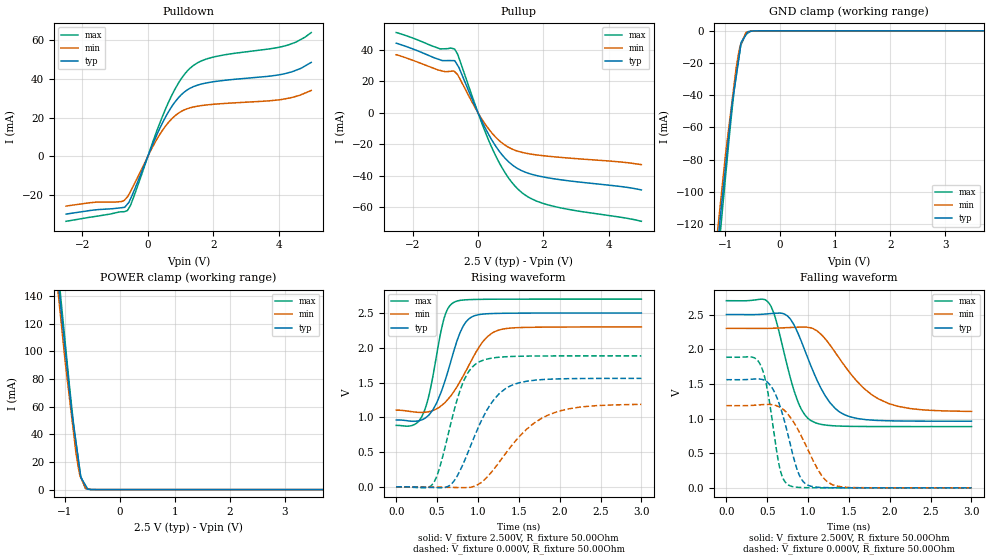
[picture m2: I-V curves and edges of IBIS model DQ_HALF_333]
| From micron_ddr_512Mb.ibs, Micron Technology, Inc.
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|   MODEL DQ_HALF_333
[Model]   DQ_HALF_333
Model_type   I/O
Vinl = 0.940V
Vinh = 1.560V
Vmeas = 1.250V
Vref = 1.250V
Cref = 30.000pF
Rref = 50.000Ohm
|   typ   min   max
C_comp   3.00pF   2.85pF   3.15pF
[Model Spec]
| Input threshold voltage corners
Vinh   1.560V   1.460V   1.660V
Vinl   0.940V   0.840V   1.040V
| Measurement voltage corners
Vmeas   1.250V   1.150V   1.350V
| Timing spec test load voltage corners
Vref   1.250V   1.150V   1.350V
| Overshoot/Undershoot
S_overshoot_high   2.800V   2.600V   3.000V
S_overshoot_low   -0.300V   -0.300V   -0.300V
D_overshoot_high   4.000V   3.800V   4.200V
D_overshoot_low   -1.500V   -1.500V   -1.500V
D_overshoot_time   2.000n   2.000n   2.000n
[Receiver Thresholds]
Vth   =  1.250V
Vth_min  =  1.225V
Vth_max  =  1.275V
Vinh_ac  =  0.310V
Vinh_dc  =  0.150V
Vinl_ac  = -0.310V
Vinl_dc  = -0.150V
Tslew_ac =  10.000ns |Not specified, so set to high value
Threshold_sensitivity = 0.50
Reference_supply Pullup_ref
[Voltage Range]   2.500V   2.300V   2.700V
[Pullup Reference]   2.500V   2.300V   2.700V
| Junction Temperature (Ambient temp is 25C typ, 70C min, 0C max)
[Temperature Range]   40.0   85.0   0.0
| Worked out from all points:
|   slope of the pulldown table from 0 to 0.375 V, typ, clamps not added: 25.3 ohm
|   slope of the pullup table from 0 to 0.375 V, typ, clamps not added: 24 ohm
|   GND clamp passes 1 mA (typ) near -0.59 V on its own axis
|   POWER clamp passes 1 mA (typ) near -0.59 V on its own axis
|   falling waveform, V_fixture 2.500V, R_fixture 50.00Ohm: 20-80 % time 354ps typ, 513ps min, 248ps max; typ from 2.5 V to 0.961 V
|   rising waveform, V_fixture 2.500V, R_fixture 50.00Ohm: 20-80 % time 256ps typ, 353ps min, 181ps max; typ from 0.961 V to 2.5 V
|   rising waveform, V_fixture 0.000V, R_fixture 50.00Ohm: 20-80 % time 380ps typ, 546ps min, 265ps max; typ from 0 V to 1.56 V
|   falling waveform, V_fixture 0.000V, R_fixture 50.00Ohm: 20-80 % time 217ps typ, 311ps min, 151ps max; typ from 1.56 V to 0 V
[Pulldown]
|   Voltage   I(typ)   I(min)   I(max)
-2.5V     -29.74mA   -25.59mA   -33.46mA
-800mV    -26.43mA   -23.23mA   -28.53mA
-625mV    -24.63mA   -20.9mA    -27.94mA
-450mV    -18.85mA   -15.49mA   -21.76mA
185mV     7.673mA    6.126mA    8.998mA
550mV     20.61mA    15.86mA    24.82mA
945mV     30.47mA    22.42mA    38.12mA
1.13V     33.41mA    24.14mA    42.6mA
1.385V    35.97mA    25.51mA    46.85mA
2.1V      38.8mA     27.07mA    51.69mA
4.295V    43.2mA     30.04mA    57.56mA
5V        48.56mA    34.08mA    63.97mA
[GND Clamp]
|   Voltage   I(typ)   I(min)   I(max)
-2.5V     -659.2mA   -625.3mA   -694.5mA
-1.15V    -138.9mA   -128.9mA   -148.5mA
-1.085V   -115.3mA   -107.4mA   -124.8mA
-1.08V    -113.5mA   -105.8mA   -122.9mA
-995mV    -85.56mA   -77.73mA   -91.9mA
-875mV    -46.04mA   -44.25mA   -49.54mA
-835mV    -36.52mA   -33.13mA   -37.02mA
-760mV    -19.06mA   -14.98mA   -19.41mA
-710mV    -7.419mA   -7.917mA   -8.673mA
-615mV    -2.242mA   -960.6uA   -1.966mA
-480mV    -36.22uA   -52.95uA   -123.7uA
5V        0A         0A         0A
[Pullup]
|   Voltage   I(typ)   I(min)   I(max)
-2.5V     43.97mA    36.69mA    50.74mA
-1.155V   33.44mA    26.72mA    40.39mA
-715mV    32.94mA    26.02mA    40.32mA
-625mV    30.09mA    24.13mA    37.21mA
90mV      -4.103mA   -3.126mA   -5.12mA
470mV     -18.9mA    -13.96mA   -24.2mA
710mV     -26.01mA   -18.8mA    -33.96mA
945mV     -31.3mA    -22.08mA   -41.69mA
1.36V     -37.02mA   -25.26mA   -50.98mA
1.785V    -39.87mA   -26.8mA    -56.01mA
2.37V     -42.1mA    -28.1mA    -59.67mA
5V        -48.99mA   -32.98mA   -68.92mA
[POWER Clamp]
|   Voltage   I(typ)   I(min)   I(max)
-2.5V     748.5mA    726.1mA    769.1mA
-1.15V    163.5mA    153.7mA    169.7mA
-1.08V    134.7mA    126.4mA    141.4mA
-995mV    102.3mA    93.13mA    107mA
-875mV    56.5mA     52.57mA    59.72mA
-800mV    34.85mA    27.27mA    34.99mA
-755mV    21.98mA    15.98mA    21.75mA
-710mV    9.113mA    8.678mA    9.701mA
-625mV    3.174mA    1.328mA    776.5uA
-580mV    237.1uA    520.9uA    412.1uA
-480mV    6.41uA     27.77uA    5.892uA
5V        0A         0A         0A
[Ramp]
R_load = 50.00Ohm
|   typ   min   max
dV/dt_r   936.209mV/379.522ps 711.542mV/546.072ps   1.130V/264.949ps
dV/dt_f   923.098mV/353.816ps 718.269mV/513.140ps   1.090V/247.628ps
[Falling Waveform]
V_fixture = 2.500V
V_fixture_min = 2.300V
V_fixture_max = 2.700V
R_fixture = 50.00Ohm
|   Time   V(typ)   V(min)   V(max)
0s        2.5V       2.3V       2.7V
530ps     2.513V     2.301V     2.651V
610ps     2.519V     2.304V     2.41V
780ps     2.441V     2.313V     1.601V
900ps     2.165V     2.319V     1.177V
1.04ns    1.745V     2.307V     967.1mV
1.27ns    1.226V     2.057V     899.2mV
1.5ns     1.031V     1.677V     887.5mV
1.99ns    967.3mV    1.215V     884.2mV
3ns       961.5mV    1.103V     883.9mV
[Rising Waveform]
V_fixture = 2.500V
V_fixture_min = 2.300V
V_fixture_max = 2.700V
R_fixture = 50.00Ohm
|   Time   V(typ)   V(min)   V(max)
0s        961.5mV    1.103V     883.9mV
200ps     942.9mV    1.08V      884.9mV
310ps     962.5mV    1.07V      1.002V
410ps     1.048V     1.084V     1.363V
580ps     1.464V     1.194V     2.4V
720ps     2.01V      1.396V     2.662V
890ps     2.416V     1.75V      2.693V
1.06ns    2.485V     2.088V     2.697V
1.24ns    2.495V     2.248V     2.699V
3ns       2.5V       2.3V       2.7V
[Rising Waveform]
V_fixture = 0.000V
V_fixture_min = 0.000V
V_fixture_max = 0.000V
R_fixture = 50.00Ohm
|   Time   V(typ)   V(min)   V(max)
0s        -39.3uV    -34.2uV    9.533uV
460ps     -10.23mV   -3.777mV   63.65mV
530ps     -12.76mV   -5.237mV   269.8mV
660ps     24.88mV    -8.013mV   872.2mV
800ps     280.7mV    -11.37mV   1.448V
1ns       842.4mV    32.73mV    1.788V
1.15ns    1.181V     190.3mV    1.847V
1.33ns    1.406V     465.7mV    1.87V
1.85ns    1.547V     1.028V     1.883V
3ns       1.56V      1.186V     1.884V
[Falling Waveform]
V_fixture = 0.000V
V_fixture_min = 0.000V
V_fixture_max = 0.000V
R_fixture = 50.00Ohm
|   Time   V(typ)   V(min)   V(max)
0s        1.56V      1.186V     1.884V
420ps     1.567V     1.199V     1.767V
510ps     1.515V     1.204V     1.366V
650ps     1.203V     1.166V     303.8mV
760ps     738.2mV    1.053V     40.81mV
870ps     251.6mV    854.1mV    8.046mV
940ps     90.56mV    692.6mV    3.878mV
1.16ns    5.945mV    189.2mV    762.1uV
1.3ns     2.103mV    44.79mV    348.1uV
3ns       -39.3uV    -34.2uV    9.533uV
